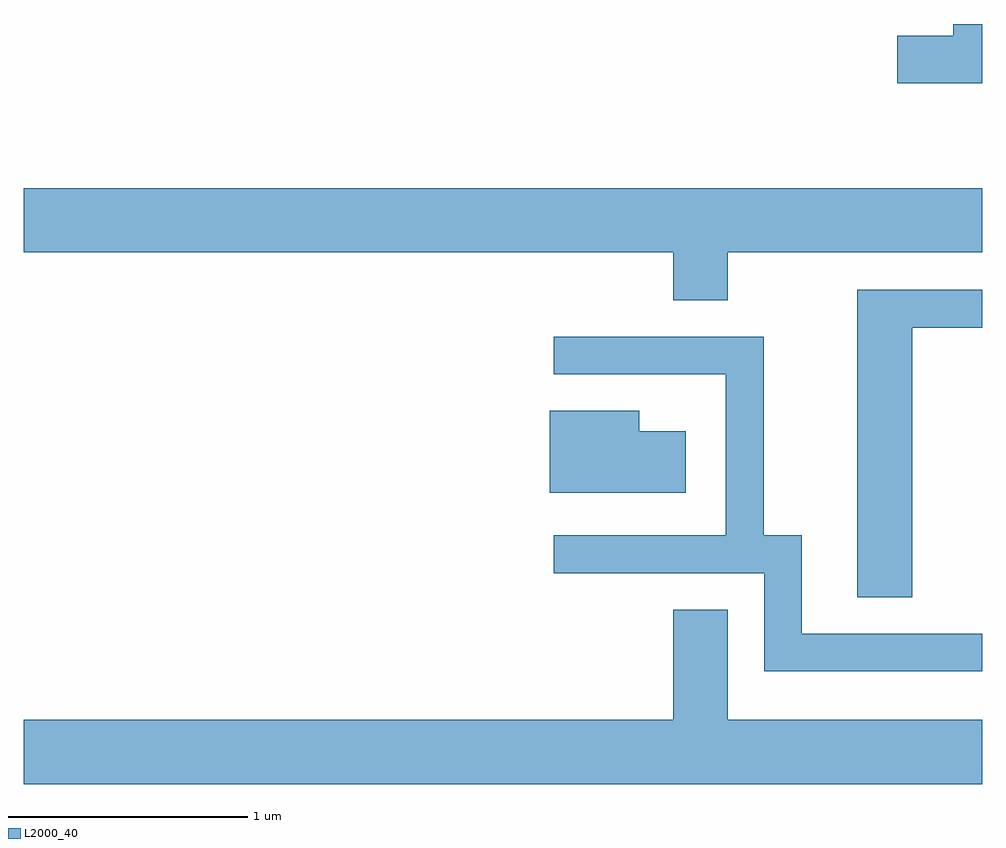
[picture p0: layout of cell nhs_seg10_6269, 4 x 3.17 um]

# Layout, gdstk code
import gdstk
lib = gdstk.Library(unit=1e-6, precision=1e-09)
def P(c, l, *ps):  # polygons
    for p in ps: c.add(gdstk.Polygon(p, *l))
L2000_40 = (2000, 40)

nhs_seg10_6269 = lib.new_cell('nhs_seg10_6269')
P(nhs_seg10_6269, L2000_40, [(373.611,2188.129),(373.491,2188.129),(373.491,2188.079),(373.256,2188.079),(373.256,2187.881),(373.611,2187.881)],
  [(372.549,2187.176),(373.611,2187.176),(373.611,2187.444),(369.611,2187.444),(369.611,2187.176),(372.321,2187.176),(372.321,2186.976),(372.549,2186.976)],
  [(373.319,2186.861),(373.611,2186.861),(373.611,2187.019),(373.091,2187.019),(373.091,2185.736),(373.319,2185.736)],
  [(373.611,2185.584),(372.859,2185.584),(372.859,2185.994),(372.699,2185.994),(372.699,2186.824),(371.823,2186.824),(371.823,2186.666),(372.541,2186.666),(372.541,2185.994),(371.823,2185.994),(371.823,2185.836),(372.701,2185.836),(372.701,2185.426),(373.611,2185.426)],
  [(372.374,2186.429),(372.179,2186.429),(372.179,2186.514),(371.806,2186.514),(371.806,2186.171),(372.374,2186.171)],
  [(373.611,2185.224),(372.549,2185.224),(372.549,2185.684),(372.321,2185.684),(372.321,2185.224),(369.611,2185.224),(369.611,2184.956),(373.611,2184.956)])

lib.write_gds('nhs_seg10_6269.gds')
